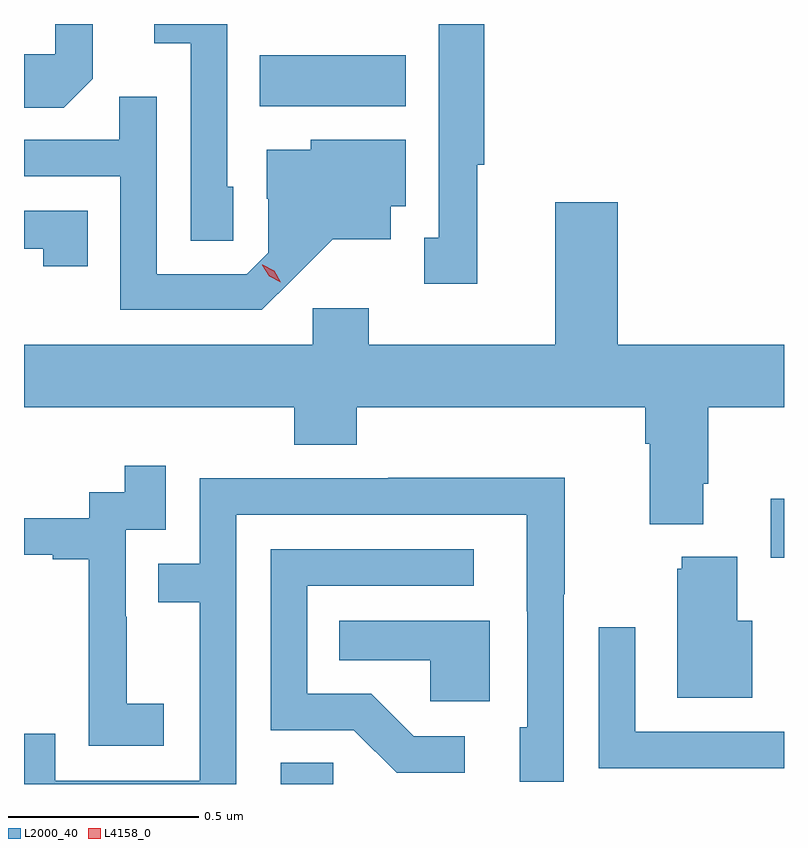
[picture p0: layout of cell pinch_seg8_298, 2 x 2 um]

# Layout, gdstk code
import gdstk
lib = gdstk.Library(unit=1e-6, precision=1e-09)
def R(c, l, rs):  # rectangles x0, y0, x1, y1
    for r in rs: c.add(gdstk.rectangle(r[:2], r[2:], *l))
def P(c, l, *ps):  # polygons
    for p in ps: c.add(gdstk.Polygon(p, *l))
L2000_40 = (2000, 40)
L4158_0 = (4158, 0)

pinch_seg8_298 = lib.new_cell('pinch_seg8_298')
R(pinch_seg8_298, L2000_40, [(523.925,1152.804,524.064,1152.86), (525.215,1153.399,525.25,1153.555), (523.87,1154.588,524.254,1154.722)])
P(pinch_seg8_298, L2000_40, [(523.8,1154.376),(523.785,1154.376),(523.785,1154.804),(523.593,1154.804),(523.593,1154.753),(523.689,1154.753),(523.689,1154.233),(523.8,1154.233)],
  [(523.431,1154.66),(523.431,1154.804),(523.332,1154.804),(523.332,1154.724),(523.25,1154.724),(523.25,1154.584),(523.355,1154.584)],
  [(524.443,1154.433),(524.461,1154.433),(524.461,1154.804),(524.342,1154.804),(524.342,1154.241),(524.303,1154.241),(524.303,1154.121),(524.443,1154.121)],
  [(523.96,1154.135),(524.063,1154.237),(524.215,1154.237),(524.215,1154.324),(524.254,1154.324),(524.254,1154.5),(524.004,1154.5),(524.004,1154.473),(523.889,1154.473),(523.889,1154.344),(523.893,1154.344),(523.893,1154.202),(523.836,1154.145),(523.599,1154.145),(523.599,1154.612),(523.501,1154.612),(523.501,1154.499),(523.25,1154.499),(523.25,1154.403),(523.503,1154.403),(523.503,1154.052),(523.876,1154.052)],
  [(525.037,1153.594),(525.05,1153.594),(525.05,1153.796),(525.25,1153.796),(525.25,1153.96),(524.812,1153.96),(524.812,1154.335),(524.648,1154.335),(524.648,1153.96),(524.157,1153.96),(524.157,1154.056),(524.01,1154.056),(524.01,1153.96),(523.25,1153.96),(523.25,1153.796),(523.961,1153.796),(523.961,1153.697),(524.126,1153.697),(524.126,1153.796),(524.885,1153.796),(524.885,1153.7),(524.897,1153.7),(524.897,1153.487),(525.037,1153.487)],
  [(523.418,1154.313),(523.25,1154.313),(523.25,1154.212),(523.3,1154.212),(523.3,1154.166),(523.418,1154.166)],
  [(523.618,1153.015),(523.52,1153.015),(523.52,1153.244),(523.518,1153.244),(523.518,1153.473),(523.623,1153.473),(523.623,1153.642),(523.515,1153.642),(523.515,1153.572),(523.422,1153.572),(523.422,1153.503),(523.25,1153.503),(523.25,1153.407),(523.325,1153.407),(523.325,1153.395),(523.421,1153.395),(523.421,1153.111),(523.42,1153.111),(523.42,1152.905),(523.618,1152.905)],
  [(523.809,1153.512),(524.573,1153.512),(524.573,1153.258),(524.574,1153.258),(524.574,1152.954),(524.555,1152.954),(524.555,1152.81),(524.67,1152.81),(524.67,1153.303),(524.673,1153.303),(524.673,1153.61),(524.209,1153.61),(524.209,1153.608),(523.713,1153.608),(523.713,1153.383),(523.603,1153.383),(523.603,1153.282),(523.713,1153.282),(523.713,1152.813),(523.332,1152.813),(523.332,1152.936),(523.25,1152.936),(523.25,1152.804),(523.809,1152.804)],
  [(524.41,1152.93),(524.275,1152.93),(524.164,1153.041),(523.995,1153.041),(523.995,1153.326),(524.434,1153.326),(524.434,1153.422),(523.899,1153.422),(523.899,1152.945),(524.118,1152.945),(524.231,1152.833),(524.41,1152.833)],
  [(525.166,1153.234),(525.127,1153.234),(525.127,1153.402),(524.981,1153.402),(524.981,1153.371),(524.969,1153.371),(524.969,1153.031),(525.166,1153.031)],
  [(524.476,1153.234),(524.08,1153.234),(524.08,1153.13),(524.319,1153.13),(524.319,1153.022),(524.476,1153.022)],
  [(525.25,1152.942),(524.859,1152.942),(524.859,1153.216),(524.763,1153.216),(524.763,1152.846),(525.079,1152.846),(525.079,1152.845),(525.25,1152.845)])
P(pinch_seg8_298, L4158_0, [(523.926,1154.125),(523.895,1154.14),(523.877,1154.169),(523.877,1154.17),(523.878,1154.17),(523.908,1154.155),(523.926,1154.125),(523.926,1154.125)])

lib.write_gds('pinch_seg8_298.gds')
